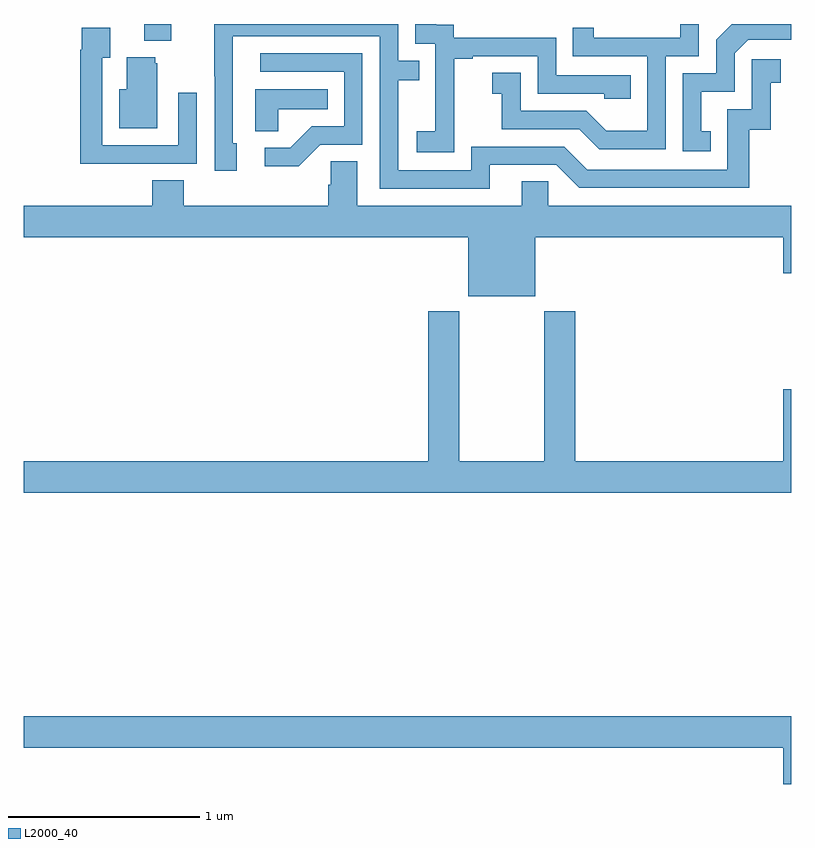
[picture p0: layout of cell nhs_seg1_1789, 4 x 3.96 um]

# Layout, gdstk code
import gdstk
lib = gdstk.Library(unit=1e-6, precision=1e-09)
def R(c, l, rs):  # rectangles x0, y0, x1, y1
    for r in rs: c.add(gdstk.rectangle(r[:2], r[2:], *l))
def P(c, l, *ps):  # polygons
    for p in ps: c.add(gdstk.Polygon(p, *l))
L2000_40 = (2000, 40)

nhs_seg1_1789 = lib.new_cell('nhs_seg1_1789')
R(nhs_seg1_1789, L2000_40, [(209.627,530.111,209.767,530.199)])
P(nhs_seg1_1789, L2000_40, [(212.346,530.031),(212.52,530.031),(212.52,530.199),(212.423,530.199),(212.423,530.127),(211.972,530.127),(211.972,530.179),(211.861,530.179),(211.861,530.031),(212.25,530.031),(212.25,529.642),(212.036,529.642),(211.932,529.746),(211.59,529.746),(211.59,529.945),(211.443,529.945),(211.443,529.835),(211.492,529.835),(211.492,529.65),(211.895,529.65),(212,529.545),(212.346,529.545)],
  [(211.429,529.464),(211.776,529.464),(211.896,529.344),(212.783,529.344),(212.783,529.647),(212.894,529.647),(212.894,529.893),(212.947,529.893),(212.947,530.014),(212.796,530.014),(212.796,529.755),(212.667,529.755),(212.667,529.44),(211.938,529.44),(211.818,529.56),(211.332,529.56),(211.332,529.437),(210.951,529.437),(210.951,529.906),(211.061,529.906),(211.061,530.007),(210.951,530.007),(210.951,530.199),(209.992,530.199),(209.992,529.927),(209.994,529.927),(209.994,529.434),(210.109,529.434),(210.109,529.578),(210.09,529.578),(210.09,530.136),(210.855,530.136),(210.855,529.341),(211.429,529.341)],
  [(211.245,529.735),(211.244,529.735),(211.244,530.019),(211.339,530.019),(211.339,530.031),(211.68,530.031),(211.68,529.836),(212.025,529.836),(212.025,529.809),(212.165,529.809),(212.165,529.932),(211.776,529.932),(211.776,530.127),(211.242,530.127),(211.242,530.196),(211.15,530.196),(211.15,530.199),(211.041,530.199),(211.041,530.097),(211.146,530.097),(211.146,529.868),(211.145,529.868),(211.145,529.639),(211.047,529.639),(211.047,529.529),(211.245,529.529)],
  [(212.582,529.641),(212.533,529.641),(212.533,529.845),(212.706,529.845),(212.706,530.046),(212.778,530.118),(213,530.118),(213,530.199),(212.691,530.199),(212.61,530.118),(212.61,529.941),(212.436,529.941),(212.436,529.536),(212.582,529.536)],
  [(209.585,529.47),(209.901,529.47),(209.901,529.84),(209.805,529.84),(209.805,529.566),(209.409,529.566),(209.409,530.023),(209.449,530.023),(209.449,530.179),(209.301,530.179),(209.301,530.066),(209.293,530.066),(209.293,529.469),(209.585,529.469)],
  [(210.546,529.569),(210.765,529.569),(210.765,530.046),(210.231,530.046),(210.231,529.95),(210.669,529.95),(210.669,529.665),(210.5,529.665),(210.389,529.554),(210.255,529.554),(210.255,529.457),(210.433,529.457)],
  [(209.695,529.995),(209.684,529.995),(209.684,530.026),(209.537,530.026),(209.537,529.858),(209.498,529.858),(209.498,529.655),(209.695,529.655)],
  [(210.327,529.754),(210.584,529.754),(210.584,529.858),(210.206,529.858),(210.206,529.639),(210.327,529.639)],
  [(211.666,529.088),(212.96,529.088),(212.96,528.9),(213,528.9),(213,529.252),(211.734,529.252),(211.734,529.379),(211.595,529.379),(211.595,529.252),(210.739,529.252),(210.739,529.484),(210.6,529.484),(210.6,529.361),(210.587,529.361),(210.587,529.252),(209.834,529.252),(209.834,529.385),(209.669,529.385),(209.669,529.252),(209,529.252),(209,529.088),(211.316,529.088),(211.316,528.779),(211.666,528.779)],
  [(213,528.295),(212.96,528.295),(212.96,527.92),(211.874,527.92),(211.874,528.7),(211.714,528.7),(211.714,527.92),(211.269,527.92),(211.269,528.7),(211.109,528.7),(211.109,527.92),(209,527.92),(209,527.756),(213,527.756)],
  [(213,526.588),(209,526.588),(209,526.424),(212.96,526.424),(212.96,526.236),(213,526.236)])

lib.write_gds('nhs_seg1_1789.gds')
